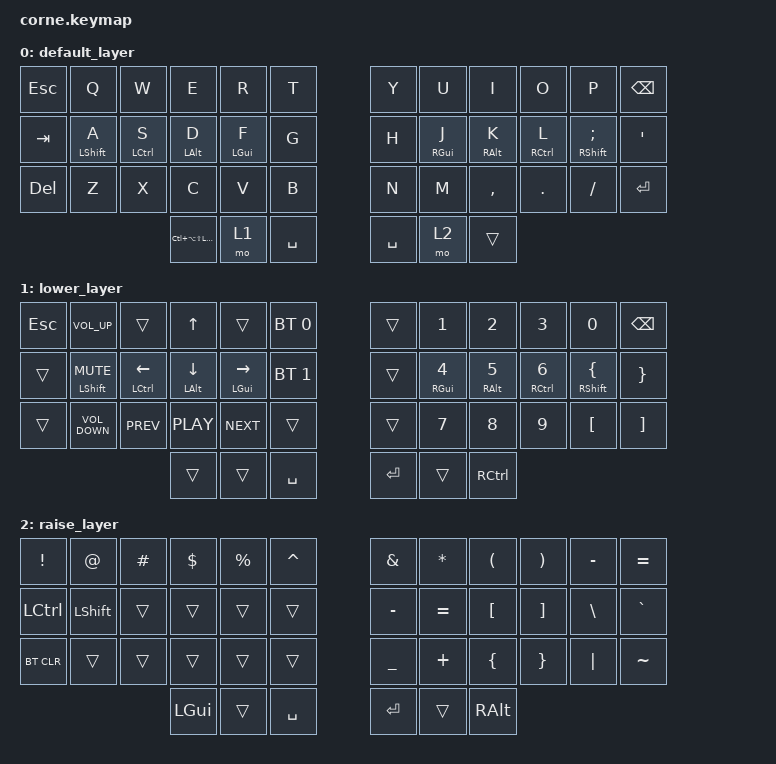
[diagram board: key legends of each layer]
/*
 * Copyright (c) 2020 The ZMK Contributors
 *
 * SPDX-License-Identifier: MIT
 */

#include <behaviors.dtsi>
#include <dt-bindings/zmk/bt.h>
#include <dt-bindings/zmk/keys.h>

/ {
    combos {
        compatible = "zmk,combos";

        sleep {
            bindings = <&kp ESCAPE>;
            key-positions = <17 18>;
            layers = <0>;
        };

        screenshot {
            bindings = <&kp RG(RS(NUMBER_4))>;
            key-positions = <16 19>;
        };

        backspace {
            bindings = <&kp BACKSPACE>;
            key-positions = <16 15>;
        };
    };

    behaviors {
        hmr: hmr {
            compatible = "zmk,behavior-hold-tap";
            label = "HMR";
            bindings = <&kp>, <&kp>;

            #binding-cells = <2>;
            tapping-term-ms = <280>;
            quick-tap-ms = <200>;
            flavor = "balanced";
            hold-trigger-key-positions = <6 7 8 9 10 11 18 19 20 21 22 23 30 31 32 33 34 35 38 39 40 41 37 36>;
            require-prior-idle-ms = <120>;
            hold-trigger-on-release;
        };

        hml: hml {
            compatible = "zmk,behavior-hold-tap";
            label = "HML";
            bindings = <&kp>, <&kp>;

            #binding-cells = <2>;
            tapping-term-ms = <280>;
            quick-tap-ms = <180>;
            flavor = "balanced";
            require-prior-idle-ms = <120>;
            hold-trigger-key-positions = <0 1 2 3 4 5 12 13 14 15 16 17 24 25 26 27 28 29 36 37 38 39 40 41>;
            hold-trigger-on-release;
        };
    };

    macros {
        hyper: hyper {
            compatible = "zmk,behavior-macro";
            #binding-cells = <0>;
            bindings = <&lt 0 LC(LA(LS(LEFT_GUI)))>;
            label = "HYPER";
        };
    };

    keymap {
        compatible = "zmk,keymap";

        default_layer {
            // -----------------------------------------------------------------------------------------
            // |  TAB |  Q  |  W  |  E  |  R  |  T  |   |  Y  |  U   |  I  |  O  |  P  | BSPC |
            // | CTRL |  A  |  S  |  D  |  F  |  G  |   |  H  |  J   |  K  |  L  |  ;  |  '   |
            // | SHFT |  Z  |  X  |  C  |  V  |  B  |   |  N  |  M   |  ,  |  .  |  /  | ESC  |
            //                    | GUI | LWR | SPC |   | ENT | RSE  | ALT |

            bindings = <
&kp ESCAPE  &kp Q         &kp W         &kp E                     &kp R            &kp T        &kp Y      &kp U             &kp I             &kp O         &kp P                  &kp BSPC
&kp TAB     &hml LSHFT A  &hml LCTRL S  &hml LEFT_ALT D           &hml LEFT_GUI F  &kp G        &kp H      &hmr RIGHT_GUI J  &hmr RIGHT_ALT K  &hmr RCTRL L  &hmr RIGHT_SHIFT SEMI  &kp SQT
&kp DEL     &kp Z         &kp X         &kp C                     &kp V            &kp B        &kp N      &kp M             &kp COMMA         &kp DOT       &kp FSLH               &kp ENTER
                                        &kp LC(LA(LS(LEFT_GUI)))  &mo 1            &kp SPACE    &kp SPACE  &mo 2             &trans
            >;
        };

        lower_layer {
            // -----------------------------------------------------------------------------------------
            // |  TAB |  1  |  2  |  3  |  4  |  5  |   |  6  |  7  |  8  |  9  |  0  | BSPC |
            // | BTCLR| BT1 | BT2 | BT3 | BT4 | BT5 |   | LFT | DWN |  UP | RGT |     |      |
            // | SHFT |     |     |     |     |     |   |     |     |     |     |     |      |
            //                    | GUI |     | SPC |   | ENT |     | ALT |

            bindings = <
&kp ESC  &kp C_VOLUME_UP         &trans                        &kp UP_ARROW              &trans               &bt BT_SEL 0    &trans   &kp NUMBER_1             &kp NUMBER_2       &kp NUMBER_3         &kp N0                       &kp BSPC
&trans   &hml LEFT_SHIFT K_MUTE  &hml LEFT_CONTROL LEFT_ARROW  &hml LEFT_ALT DOWN_ARROW  &hml LEFT_GUI RIGHT  &bt BT_SEL 1    &trans   &hmr RIGHT_GUI NUMBER_4  &hmr RIGHT_ALT N5  &hmr RCTRL NUMBER_6  &hmr RIGHT_SHIFT LEFT_BRACE  &kp RIGHT_BRACE
&trans   &kp C_VOLUME_DOWN       &kp C_PREV                    &kp C_PLAY                &kp C_NEXT           &trans          &trans   &kp N7                   &kp N8             &kp N9               &kp LEFT_BRACKET             &kp RIGHT_BRACKET
                                                               &trans                    &trans               &kp SPACE       &kp RET  &trans                   &kp RCTRL
            >;
        };

        raise_layer {
            // -----------------------------------------------------------------------------------------
            // |  TAB |  !  |  @  |  #  |  $  |  %  |   |  ^  |  &  |  *  |  (  |  )  | BSPC |
            // | CTRL |     |     |     |     |     |   |  -  |  =  |  [  |  ]  |  \  |  `   |
            // | SHFT |     |     |     |     |     |   |  _  |  +  |  {  |  }  | "|" |  ~   |
            //                    | GUI |     | SPC |   | ENT |     | ALT |

            bindings = <
&kp EXCLAMATION  &kp AT_SIGN     &kp HASH  &kp DOLLAR  &kp PERCENT  &kp CARET    &kp AMPERSAND  &kp ASTERISK  &kp LEFT_PARENTHESIS  &kp RIGHT_PARENTHESIS  &kp MINUS  &kp EQUAL
&kp LCTRL        &kp LEFT_SHIFT  &trans    &trans      &trans       &trans       &kp MINUS      &kp EQUAL     &kp LBKT              &kp RBKT               &kp BSLH   &kp GRAVE
&bt BT_CLR       &trans          &trans    &trans      &trans       &trans       &kp UNDER      &kp PLUS      &kp LBRC              &kp RBRC               &kp PIPE   &kp TILDE
                                           &kp LGUI    &trans       &kp SPACE    &kp RET        &trans        &kp RALT
            >;
        };
    };
};
